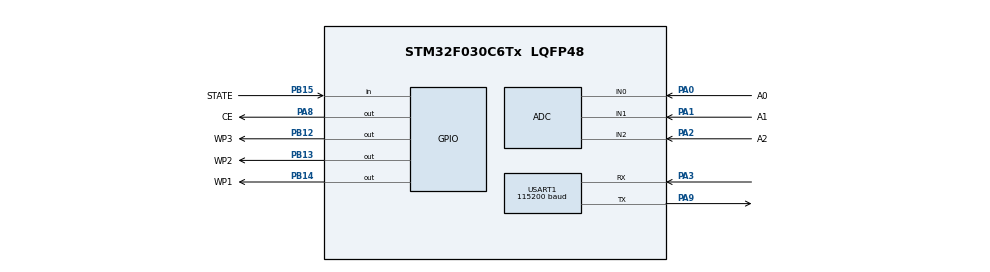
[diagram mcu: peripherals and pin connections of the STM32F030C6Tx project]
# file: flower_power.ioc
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ADC.ClockPrescaler=ADC_CLOCK_SYNC_PCLK_DIV4
ADC.ContinuousConvMode=ENABLE
ADC.DMAContinuousRequests=ENABLE
ADC.DiscontinuousConvMode=DISABLE
ADC.EOCSelection=ADC_EOC_SEQ_CONV
ADC.EnableAnalogWatchDog=false
ADC.Overrun=ADC_OVR_DATA_PRESERVED
ADC.SamplingTime=ADC_SAMPLETIME_239CYCLES_5
Dma.ADC.0.Direction=DMA_PERIPH_TO_MEMORY
Dma.ADC.0.Instance=DMA1_Channel1
Dma.ADC.0.MemDataAlignment=DMA_MDATAALIGN_HALFWORD
Dma.ADC.0.MemInc=DMA_MINC_ENABLE
Dma.ADC.0.Mode=DMA_CIRCULAR
Dma.ADC.0.PeriphDataAlignment=DMA_PDATAALIGN_HALFWORD
Dma.ADC.0.PeriphInc=DMA_PINC_DISABLE
Dma.ADC.0.Priority=DMA_PRIORITY_MEDIUM
Dma.Request0=ADC
Mcu.Family=STM32F0
Mcu.Name=STM32F030C6Tx
Mcu.Package=LQFP48
NVIC.DMA1_Channel1_IRQn=true\:3\:0\:true\:false\:true\:false\:true\:true
NVIC.RTC_IRQn=true\:2\:0\:true\:false\:true\:true\:true\:true
NVIC.TIM1_BRK_UP_TRG_COM_IRQn=true\:1\:0\:true\:false\:true\:false\:true\:true
NVIC.TimeBase=TIM1_BRK_UP_TRG_COM_IRQn
NVIC.TimeBaseIP=TIM1
NVIC.USART1_IRQn=true\:0\:0\:true\:false\:true\:true\:true\:true
PA0.GPIO_Label=A0
PA0.Mode=IN0
PA0.Signal=ADC_IN0
PA1.GPIO_Label=A1
PA1.Mode=IN1
PA1.Signal=ADC_IN1
PA13.Mode=Serial_Wire
PA13.Signal=SYS_SWDIO
PA14.Mode=Serial_Wire
PA14.Signal=SYS_SWCLK
PA2.GPIO_Label=A2
PA2.Mode=IN2
PA2.Signal=ADC_IN2
PA3.Mode=Asynchronous
PA3.Signal=USART1_RX
PA8.GPIO_Label=CE
PA8.Signal=GPIO_Output
PA9.Mode=Asynchronous
PA9.Signal=USART1_TX
PB12.GPIO_Label=WP3
PB12.Signal=GPIO_Output
PB13.GPIO_Label=WP2
PB13.Signal=GPIO_Output
PB14.GPIO_Label=WP1
PB14.Signal=GPIO_Output
PB15.GPIO_Label=STATE
PB15.Signal=GPIO_Input
PC14-OSC32_IN.Mode=LSE-External-Oscillator
PC14-OSC32_IN.Signal=RCC_OSC32_IN
PC15-OSC32_OUT.Mode=LSE-External-Oscillator
PC15-OSC32_OUT.Signal=RCC_OSC32_OUT
PF0-OSC_IN.Mode=HSE-External-Oscillator
PF0-OSC_IN.Signal=RCC_OSC_IN
PF1-OSC_OUT.Mode=HSE-External-Oscillator
PF1-OSC_OUT.Signal=RCC_OSC_OUT
ProjectManager.HeapSize=0x200
ProjectManager.StackSize=0x400
ProjectManager.TargetToolchain=STM32CubeIDE
RCC.AHBFreq_Value=48000000
RCC.APB1Freq_Value=48000000
RCC.APB1TimFreq_Value=48000000
RCC.HCLKFreq_Value=48000000
RCC.HSE_VALUE=16000000
RCC.PLLMUL=RCC_PLL_MUL3
RCC.PLLSourceVirtual=RCC_PLLSOURCE_HSE
RCC.RTCClockSelection=RCC_RTCCLKSOURCE_LSE
RCC.SYSCLKFreq_VALUE=48000000
RCC.SYSCLKSource=RCC_SYSCLKSOURCE_PLLCLK
RTC.Alarm-Alarm\ A=RTC_ALARM_A
RTC.Date=28
RTC.Hours=18
RTC.Hours_A-Alarm\ A=12
RTC.Minutes=12
RTC.Month=RTC_MONTH_MAY
RTC.WeekDay=RTC_WEEKDAY_WEDNESDAY
RTC.Year=22
USART1.BaudRate=115200
USART1.RxPinLevelInvertParam=ADVFEATURE_RXINV_DISABLE
USART1.VirtualMode-Asynchronous=VM_ASYNC
VP_RTC_VS_RTC_Activate.Mode=RTC_Enabled
VP_RTC_VS_RTC_Alarm_A_Intern.Mode=Alarm A
VP_RTC_VS_RTC_Calendar.Mode=RTC_Calendar
VP_SYS_VS_tim1.Mode=TIM1
board=custom

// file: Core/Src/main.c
/* USER CODE BEGIN Header */
/**
 ******************************************************************************
 * @file           : main.c
 * @brief          : Main program body
 ******************************************************************************
 * @attention
 *
 * Copyright (c) 2022 STMicroelectronics.
 * All rights reserved.
 *
 * This software is licensed under terms that can be found in the LICENSE file
 * in the root directory of this software component.
 * If no LICENSE file comes with this software, it is provided AS-IS.
 *
 ******************************************************************************
 */
/* USER CODE END Header */
#include "main.h"
#include "adc.h"
#include "dma.h"
#include "rtc.h"
#include "usart.h"
#include "gpio.h"

/* USER CODE BEGIN Includes */
#include<stdio.h>
#include <stdlib.h>
#include <string.h>
/* USER CODE END Includes */

/* USER CODE BEGIN PD */
#define BIT(n) 						(1 << n)
#define LINE_FLAG_OVERFLOW                BIT(0)
#define LINE_FLAG_COMMENT_PARENTHESES    BIT(1)
#define LINE_FLAG_COMMENT_SEMICOLON    BIT(2)
#define ADC_CONVERTED_DATA_BUFFER_SIZE   ((uint32_t)   3)
#define RX_BUFFER_SIZE   12
/* USER CODE END PD */

/* USER CODE BEGIN PV */
volatile uint8_t alarm = 0;
static uint16_t aADCxConvertedData[ADC_CONVERTED_DATA_BUFFER_SIZE];
uint8_t aRXBufferA[RX_BUFFER_SIZE];
uint8_t aRXBufferB[RX_BUFFER_SIZE];
uint8_t aTXbuffer[64];
volatile uint32_t uwNbReceivedChars;
volatile uint32_t uwBufferReadyIndication;
uint8_t *pBufferReadyForUser;
uint8_t *pBufferReadyForReception;

/* USER CODE END PV */

void SystemClock_Config(void);
/* USER CODE BEGIN PFP */
uint8_t ExecuteLine(char *line);
void Report(uint8_t code);
void PrintInfo(uint8_t *String, uint32_t Size);
/* USER CODE END PFP */

int main(void) {
	/* USER CODE BEGIN 1 */
	//char c;
	//uint8_t char_counter = 0;
	//static char line[12] = { }; // Line to be executed. Zero-terminated.
	//uint8_t line_flags = 0;
	uint32_t index = 0;

	/* USER CODE END 1 */

	/* MCU Configuration--------------------------------------------------------*/

	/* Reset of all peripherals, Initializes the Flash interface and the Systick. */
	HAL_Init();

	/* Configure the system clock */
	SystemClock_Config();

	/* Initialize all configured peripherals */
	MX_GPIO_Init();
	MX_DMA_Init();
	MX_ADC_Init();
	MX_RTC_Init();
	MX_USART1_UART_Init();
	/* USER CODE BEGIN 2 */
	HAL_ADCEx_Calibration_Start(&hadc);
	pBufferReadyForReception = aRXBufferA;
	pBufferReadyForUser = aRXBufferB;
	uwNbReceivedChars = 0;
	uwBufferReadyIndication = 0;
	LL_USART_ClearFlag_ORE(USART1);
	LL_USART_EnableIT_RXNE(USART1);
	LL_USART_EnableIT_ERROR(USART1);

	HAL_ADC_Start_DMA(&hadc, (uint32_t*) aADCxConvertedData,
	ADC_CONVERTED_DATA_BUFFER_SIZE);
	LL_GPIO_SetOutputPin(CE_GPIO_Port, CE_Pin);
//	Printf("Humidity 1: %d%%\r\n",
//			100 - ((100 * aADCxConvertedData[0]) / 4096));
//	Printf("Humidity 2: %d%%\r\n",
//			100 - ((100 * aADCxConvertedData[1]) / 4096));
//	Printf("Humidity 3: %d%%\r\n",
//			100 - ((100 * aADCxConvertedData[2]) / 4096));
//	HAL_RTC_GetDate(&hrtc, &sDate, RTC_FORMAT_BIN);
//	Printf("Date: %02d-%02d-%02d\r\n", sDate.Year, sDate.Month, sDate.Date);
//	HAL_RTC_GetTime(&hrtc, &sTime, RTC_FORMAT_BIN);
//	Printf("Time: %02d:%02d:%02d\r\n", sTime.Hours, sTime.Minutes,
//			sTime.Seconds);
//	HAL_RTC_GetAlarm(&hrtc, &sAlarm, RTC_ALARM_A, RTC_FORMAT_BIN);
//	Printf("Alarm: %02d:%02d:%02d\r\n", sAlarm.AlarmTime.Hours,
//			sAlarm.AlarmTime.Minutes, sAlarm.AlarmTime.Seconds);

	/* USER CODE END 2 */

	/* Infinite loop */
	/* USER CODE BEGIN WHILE */
	while (1) {
//		while (Getc(&c) == 0) {
//			Putc(c);
//			if ((c == '\n') || (c == '\r')) { // End of line reached
//				Printf("\r\n");
//				line[char_counter] = 0;
//				if (line_flags & LINE_FLAG_OVERFLOW) {
//					Printf(
//							"Max characters per line exceeded. Line was not processed and executed.\r\n");
//				} else if (line[0] == 0) {
//					Printf("ok\r\n");
//				} else {
//					Report(ExecuteLine(line));
//				}
//				char_counter = 0;
//			} else {
//				if (c <= ' ') {
//					continue;
//				} else if (char_counter <= 11) {
//					line_flags |= LINE_FLAG_OVERFLOW;
//				} else if (c >= 'a' && c <= 'z') { // Upcase lowercase
//					line[char_counter++] = c - 'a' + 'A';
//				} else {
//					line[char_counter++] = c;
//				}
//
//			}
//		}
		if (uwBufferReadyIndication != 0) {
			char first_letter = pBufferReadyForUser[0];
			char letter = 0;
			char digit = 0;
			for (index = 0; index < RX_BUFFER_SIZE; index++) {
				if (pBufferReadyForUser[index] != '\0') {
					letter = pBufferReadyForUser[index];
					digit = letter - '0';
					switch (index) {
					case 1:
						switch (first_letter) {
						case 'D':
							if ((digit > 0) && (digit < 8)) {
								sDate.WeekDay = (uint8_t) digit;
							}
							break;
						case 'T':
							if ((digit >= 0) && (digit < 6)) {
								sTime.Hours = 10 * (uint8_t) digit;
							}
							break;
						case 'A':
							if ((digit >= 0) && (digit < 6)) {
								sAlarm.AlarmTime.Hours = 10 * ((uint8_t) digit);
							}
							break;
						default:
							break;
						}
						break;
					case 2:
						switch (first_letter) {
						case 'D':
							if ((digit > 0) && (digit < 3)) {
								sDate.Year = 10 * ((uint8_t) digit);
							}
							break;
						case 'T':
							if ((digit >= 0) && (digit < 10)) {
								sTime.Hours += ((uint8_t) digit);
								if (sTime.Hours > 23) {
									sTime.Hours = 23;
								}
							}
							break;
						case 'A':
							if ((digit >= 0) && (digit < 10)) {
								sAlarm.AlarmTime.Hours += ((uint8_t) digit);
								if (sAlarm.AlarmTime.Hours > 23) {
									sAlarm.AlarmTime.Hours = 23;
								}
							}
							break;
						default:
							break;
						}
						break;
					case 3:
						switch (first_letter) {
						case 'D':
							if ((digit >= 0) && (digit < 10)) {
								sDate.Year += ((uint8_t) digit);
							}
							break;
						case 'T':
							if ((digit >= 0) && (digit < 6)) {
								sTime.Minutes = 10 * ((uint8_t) digit);
							}
							break;
						case 'A':
							if ((digit >= 0) && (digit < 10)) {
								sAlarm.AlarmTime.Minutes = 10
										* ((uint8_t) digit);
							}
							break;
						default:
							break;
						}
						break;
					case 4:
						switch (first_letter) {
						case 'D':
							if ((digit >= 0) && (digit <= 1)) {
								sDate.Month = 10 * ((uint8_t) digit);
							}
							break;
						case 'T':
							if ((digit >= 0) && (digit < 10)) {
								sTime.Minutes += ((uint8_t) digit);
								if (sTime.Minutes > 59) {
									sTime.Minutes = 59;
								}
							}
							break;
						case 'A':
							if ((digit >= 0) && (digit < 10)) {
								sAlarm.AlarmTime.Minutes += ((uint8_t) digit);
								if (sAlarm.AlarmTime.Minutes > 59) {
									sAlarm.AlarmTime.Minutes = 59;
								}
							}
							break;
						default:
							break;
						}
						break;
					case 5:
						switch (first_letter) {
						case 'D':
							if ((digit >= 0) && (digit <= 9)) {
								sDate.Month += ((uint8_t) digit);
								if (sDate.Month > 0x12) {
									sDate.Month = 0x12;
								}
							}
							break;
						case 'T':
							if ((digit >= 0) && (digit < 6)) {
								sTime.Seconds = 10 * ((uint8_t) digit);
							}
							break;
						case 'A':
							if ((digit >= 0) && (digit < 6)) {
								sAlarm.AlarmTime.Seconds = 10
										* ((uint8_t) digit);
							}
							break;
						default:
							break;
						}
						break;
					case 6:
						switch (first_letter) {
						case 'D':
							if ((digit >= 0) && (digit <= 9)) {
								sDate.Date = 10 * ((uint8_t) digit);
							}
							break;
						case 'T':
							if ((digit >= 0) && (digit < 10)) {
								sTime.Seconds += ((uint8_t) digit);
								if (sTime.Seconds > 59) {
									sTime.Seconds = 59;
								}
							}
							break;
						case 'A':
							if ((digit >= 0) && (digit < 6)) {
								sAlarm.AlarmTime.Seconds += ((uint8_t) digit);
								if (sAlarm.AlarmTime.Seconds > 59) {
									sAlarm.AlarmTime.Seconds = 59;
								}
							}
							break;
						default:
							break;
						}
						break;
					case 7:
						switch (first_letter) {
						case 'D':
							if ((digit >= 0) && (digit <= 9)) {
								sDate.Date += ((uint8_t) digit);
								if (sDate.Date < 1) {
									sDate.Date = 1;
								}
								if (sDate.Date > 31) {
									sDate.Date = 31;
								}
							}
							break;
						default:
							break;
						}
						break;
					default:
						break;
					}

				} else
					break;
			}
			switch (first_letter) {
			case 'G':
				sprintf((char*) aTXbuffer, "Humidity 1: %d%%\r\n",
						100 - ((100 * aADCxConvertedData[0]) / 4096));
				PrintInfo(aTXbuffer, strlen((char*) aTXbuffer));
				memset(aTXbuffer, 0, sizeof(aTXbuffer));
				sprintf((char*) aTXbuffer, "Humidity 2: %d%%\r\n",
						100 - ((100 * aADCxConvertedData[1]) / 4096));
				PrintInfo(aTXbuffer, strlen((char*) aTXbuffer));
				memset(aTXbuffer, 0, sizeof(aTXbuffer));
				sprintf((char*) aTXbuffer, "Humidity 3: %d%%\r\n",
						100 - ((100 * aADCxConvertedData[2]) / 4096));
				PrintInfo(aTXbuffer, strlen((char*) aTXbuffer));
				memset(aTXbuffer, 0, sizeof(aTXbuffer));
				HAL_RTC_GetDate(&hrtc, &sDate, RTC_FORMAT_BIN);
				sprintf((char*) aTXbuffer, "Date: %02d-%02d-%02d\r\n",
						sDate.Year, sDate.Month, sDate.Date);
				PrintInfo(aTXbuffer, strlen((char*) aTXbuffer));
				memset(aTXbuffer, 0, sizeof(aTXbuffer));
				HAL_RTC_GetTime(&hrtc, &sTime, RTC_FORMAT_BIN);
				sprintf((char*) aTXbuffer, "Time: %02d:%02d:%02d\r\n",
						sTime.Hours, sTime.Minutes, sTime.Seconds);
				PrintInfo(aTXbuffer, strlen((char*) aTXbuffer));
				memset(aTXbuffer, 0, sizeof(aTXbuffer));
				HAL_RTC_GetAlarm(&hrtc, &sAlarm, RTC_ALARM_A,
				RTC_FORMAT_BIN);
				sprintf((char*) aTXbuffer, "Alarm: %02d:%02d:%02d\r\n",
						sAlarm.AlarmTime.Hours, sAlarm.AlarmTime.Minutes,
						sAlarm.AlarmTime.Seconds);
				PrintInfo(aTXbuffer, strlen((char*) aTXbuffer));
				memset(aTXbuffer, 0, sizeof(aTXbuffer));
				break;
			case 'T':
				HAL_RTC_SetTime(&hrtc, &sTime, RTC_FORMAT_BIN);
				break;
			case 'D':
				HAL_RTC_SetDate(&hrtc, &sDate, RTC_FORMAT_BIN);
				break;
			case 'A':
				HAL_RTC_SetAlarm_IT(&hrtc, &sAlarm, RTC_FORMAT_BIN);
			default:
				break;
			}
			uwBufferReadyIndication = 0;
		}
		if (alarm == 1) {
			if (aADCxConvertedData[0] > 2500) {
				LL_GPIO_SetOutputPin(WP1_GPIO_Port, WP1_Pin);
				while (aADCxConvertedData[0] > 2500) {
					LL_mDelay(100);
				}
				LL_GPIO_ResetOutputPin(WP1_GPIO_Port, WP1_Pin);
			}
			if (aADCxConvertedData[1] > 2500) {
				LL_GPIO_SetOutputPin(WP2_GPIO_Port, WP2_Pin);
				while (aADCxConvertedData[1] > 2500) {
					LL_mDelay(100);
				}
				LL_GPIO_ResetOutputPin(WP2_GPIO_Port, WP2_Pin);
			}
			if (aADCxConvertedData[2] > 2500) {
				LL_GPIO_SetOutputPin(WP3_GPIO_Port, WP3_Pin);
				while (aADCxConvertedData[2] > 2500) {
					LL_mDelay(100);
				}
				LL_GPIO_ResetOutputPin(WP3_GPIO_Port, WP3_Pin);
			}
			alarm = 0;
		}
		/* USER CODE END WHILE */

	}
}

void SystemClock_Config(void) {
	LL_FLASH_SetLatency(LL_FLASH_LATENCY_1);
	while (LL_FLASH_GetLatency() != LL_FLASH_LATENCY_1) {
	}
	LL_RCC_HSE_Enable();

	/* Wait till HSE is ready */
	while (LL_RCC_HSE_IsReady() != 1) {

	}
	LL_PWR_EnableBkUpAccess();
	if (LL_RCC_GetRTCClockSource() != LL_RCC_RTC_CLKSOURCE_LSE) {
		LL_RCC_ForceBackupDomainReset();
		LL_RCC_ReleaseBackupDomainReset();
	}
	LL_RCC_LSE_SetDriveCapability(LL_RCC_LSEDRIVE_HIGH);
	LL_RCC_LSE_Enable();

	/* Wait till LSE is ready */
	while (LL_RCC_LSE_IsReady() != 1) {

	}
	if (LL_RCC_GetRTCClockSource() != LL_RCC_RTC_CLKSOURCE_LSE) {
		LL_RCC_SetRTCClockSource(LL_RCC_RTC_CLKSOURCE_LSE);
	}
	LL_RCC_EnableRTC();
	LL_RCC_PLL_ConfigDomain_SYS(LL_RCC_PLLSOURCE_HSE_DIV_1, LL_RCC_PLL_MUL_3);
	LL_RCC_PLL_Enable();

	/* Wait till PLL is ready */
	while (LL_RCC_PLL_IsReady() != 1) {

	}
	LL_RCC_SetAHBPrescaler(LL_RCC_SYSCLK_DIV_1);
	LL_RCC_SetAPB1Prescaler(LL_RCC_APB1_DIV_1);
	LL_RCC_SetSysClkSource(LL_RCC_SYS_CLKSOURCE_PLL);

	/* Wait till System clock is ready */
	while (LL_RCC_GetSysClkSource() != LL_RCC_SYS_CLKSOURCE_STATUS_PLL) {

	}
	LL_SetSystemCoreClock(48000000);

	/* Update the time base */
	if (HAL_InitTick(TICK_INT_PRIORITY) != HAL_OK) {
		Error_Handler();
	}
	LL_RCC_SetUSARTClockSource(LL_RCC_USART1_CLKSOURCE_PCLK1);
}

/* USER CODE BEGIN 4 */
void HAL_RTC_AlarmAEventCallback(RTC_HandleTypeDef *hrtc) {
	alarm = 1;
}

uint8_t ExecuteLine(char *line) {
	char letter = 0;
	char desc[4] = "";
	letter = line[0];
	if ((letter < 'A') || (letter > 'Z')) {
		return 1; //EXPECTED command letter
	} // [Expected word letter]
	if (letter == 'D') {
		if (strlen(&line[1]) == 7) {
			strncpy(desc, &line[1], 1);
			desc[1] = '\0';
			sDate.WeekDay = (uint8_t) atoi(desc);
			memset(&desc, 0, sizeof(desc));
			strncpy(desc, &line[2], 2);
			desc[2] = '\0';
			sDate.Year = (uint8_t) atoi(desc);
			memset(&desc, 0, sizeof(desc));
			strncpy(desc, &line[4], 2);
			desc[2] = '\0';
			sDate.Month = (uint8_t) atoi(desc);
			memset(&desc, 0, sizeof(desc));
			strncpy(desc, &line[6], 2);
			desc[2] = '\0';
			sDate.Date = (uint8_t) atoi(desc);
			memset(&desc, 0, sizeof(desc));
			HAL_RTC_SetDate(&hrtc, &sDate, RTC_FORMAT_BIN);
		} else
			return 2; // wrong number of digits
	} else if (letter == 'T') {
		if (strlen(&line[1]) == 6) {
			strncpy(desc, &line[1], 2);
			desc[2] = '\0';
			sTime.Hours = (uint8_t) atoi(desc);
			memset(&desc, 0, sizeof(desc));
			strncpy(desc, &line[3], 2);
			desc[2] = '\0';
			sTime.Minutes = (uint8_t) atoi(desc);
			memset(&desc, 0, sizeof(desc));
			strncpy(desc, &line[5], 2);
			desc[2] = '\0';
			sTime.Seconds = (uint8_t) atoi(desc);
			HAL_RTC_SetTime(&hrtc, &sTime, RTC_FORMAT_BIN);
		} else
			return 2;
	} else if (letter == 'A') {
		if (strlen(&line[1]) == 6) {
			strncpy(desc, &line[1], 2);
			desc[2] = '\0';
			sAlarm.AlarmTime.Hours = (uint8_t) atoi(desc);
			memset(&desc, 0, sizeof(desc));
			strncpy(desc, &line[3], 2);
			desc[2] = '\0';
			sAlarm.AlarmTime.Minutes = (uint8_t) atoi(desc);
			memset(&desc, 0, sizeof(desc));
			strncpy(desc, &line[5], 2);
			desc[2] = '\0';
			sAlarm.AlarmTime.Seconds = (uint8_t) atoi(desc);
			HAL_RTC_SetAlarm(&hrtc, &sAlarm, RTC_FORMAT_BIN);
		} else
			return 2;
	} else if (letter == 'G') {

//		PrintInfo("Humidity 1: %d%%\r\n",
//				100 - ((100 * aADCxConvertedData[0]) / 4096));
//		PrintInfo("Humidity 2: %d%%\r\n",
//				100 - ((100 * aADCxConvertedData[1]) / 4096));
//		PrintInfo("Humidity 3: %d%%\r\n",
//				100 - ((100 * aADCxConvertedData[2]) / 4096));
//		HAL_RTC_GetDate(&hrtc, &sDate, RTC_FORMAT_BIN);
//		PrintInfo("Date: %02d-%02d-%02d\r\n", sDate.Year, sDate.Month,
//				sDate.Date);
//		HAL_RTC_GetTime(&hrtc, &sTime, RTC_FORMAT_BIN);
//		PrintInfo("Time: %02d:%02d:%02d\r\n", sTime.Hours, sTime.Minutes,
//				sTime.Seconds);
//		HAL_RTC_GetAlarm(&hrtc, &sAlarm, RTC_ALARM_A, RTC_FORMAT_BIN);
//		PrintInfo("Alarm: %02d:%02d:%02d\r\n", sAlarm.AlarmTime.Hours,
//				sAlarm.AlarmTime.Minutes, sAlarm.AlarmTime.Seconds);
	} else {
		return 3; // wrong command
	}
	return 0;
}

void Report(uint8_t code) {
	switch (code) {
	case 1:
		//PrintInfo("Command letter expected\r\n");
		break;
	case 2:
		//PrintInfo("Wrong number of digits\r\n");
		break;
	case 3:
		//PrintInfo("Wrong command\r\n");
		break;
	default:
		break;
	}
}

void USART_CharReception_Callback(void) {
	uint8_t *ptemp;
	pBufferReadyForReception[uwNbReceivedChars++] = LL_USART_ReceiveData8(
	USART1);
	if (uwNbReceivedChars >= RX_BUFFER_SIZE) {
		uwBufferReadyIndication = 1;
		ptemp = pBufferReadyForUser;
		pBufferReadyForUser = pBufferReadyForReception;
		pBufferReadyForReception = ptemp;
		uwNbReceivedChars = 0;
	}
}

/**
 * @brief  Send Txt information message on USART Tx line (to PC Com port).
 * @param  None
 * @retval None
 */
void PrintInfo(uint8_t *String, uint32_t Size) {
	uint32_t index = 0;
	uint8_t *pchar = String;

	/* Send characters one per one, until last char to be sent */
	for (index = 0; index < Size; index++) {
		/* Wait for TXE flag to be raised */
		while (!LL_USART_IsActiveFlag_TXE(USART1)) {
		}

		/* Write character in Transmit Data register.
		 TXE flag is cleared by writing data in TDR register */
		LL_USART_TransmitData8(USART1, *pchar++);
	}

	/* Wait for TC flag to be raised for last char */
	while (!LL_USART_IsActiveFlag_TC(USART1)) {
	}
}

void Error_Callback(void) {
	__IO uint32_t isr_reg;

	/* Disable USARTx_IRQn */
	NVIC_DisableIRQ(USART1_IRQn);

	/* Error handling example :
	 - Read USART ISR register to identify flag that leads to IT raising
	 - Perform corresponding error handling treatment according to flag
	 */
	isr_reg = LL_USART_ReadReg(USART1, ISR);
	if (isr_reg & LL_USART_ISR_NE) {
		/* case Noise Error flag is raised : Clear NF Flag */
		LL_USART_ClearFlag_NE(USART1);
	} else {
		/* Unexpected IT source : Set LED to Blinking mode to indicate error occurs */
		while (1) {
			LL_GPIO_TogglePin(STATE_GPIO_Port, STATE_Pin);
			LL_mDelay(1000);
		}
	}
}

/* USER CODE END 4 */

void HAL_TIM_PeriodElapsedCallback(TIM_HandleTypeDef *htim) {
	if (htim->Instance == TIM1) {
		HAL_IncTick();
	}
}

void Error_Handler(void) {
	__disable_irq();
	while (1) {
	}
}
